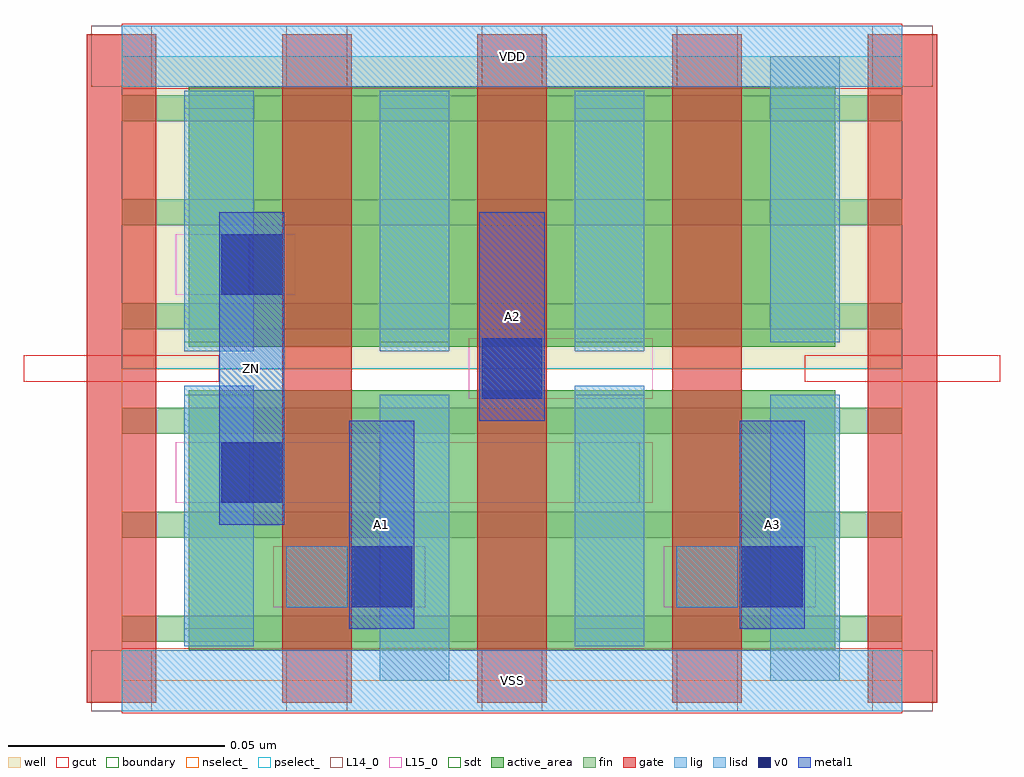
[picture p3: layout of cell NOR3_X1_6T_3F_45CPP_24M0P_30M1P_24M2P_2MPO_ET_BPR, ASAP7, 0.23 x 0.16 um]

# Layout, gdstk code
import gdstk
lib = gdstk.Library(unit=1e-6, precision=2.5e-10)
def R(c, l, rs):  # rectangles x0, y0, x1, y1
    for r in rs: c.add(gdstk.rectangle(r[:2], r[2:], *l))
def A(c, l, x, y, w, h, nx, ny, dx, dy):  # array of equal rectangles
    R(c, l, [(x+i*dx, y+j*dy, x+i*dx+w, y+j*dy+h) for i in range(nx) for j in range(ny)])
well = (1, 0)
fin = (2, 0)
gate = (7, 0)
gcut = (10, 0)
active_area = (11, 0)
nselect_ = (12, 0)
pselect_ = (13, 0)
L14_0 = (14, 0)
L15_0 = (15, 0)
lig = (16, 0)
lisd = (17, 0)
v0 = (18, 0)
metal1 = (19, 0)
sdt = (88, 0)
boundary = (100, 0)

nor3_x1_6t_3f_45cpp_24m0 = lib.new_cell('NOR3_X1_6T_3F_45CPP_24M0P_30M1P_24M2P_2MPO_ET_BPR')
R(nor3_x1_6t_3f_45cpp_24m0, well, [(0,0.072,0.18,0.144)])
A(nor3_x1_6t_3f_45cpp_24m0, fin, 0, 0.009, 0.18, 0.006, 1, 6, 0, 0.024)
A(nor3_x1_6t_3f_45cpp_24m0, gate, -0.008, -0.005, 0.016, 0.154, 5, 1, 0.045, 0)
R(nor3_x1_6t_3f_45cpp_24m0, gcut, [(0,-0.0075,0.18,0.0075), (-0.0225,0.069,0.0225,0.075), (0.1575,0.069,0.2025,0.075), (0,0.1365,0.18,0.1515)])
A(nor3_x1_6t_3f_45cpp_24m0, active_area, 0.0155, 0.007, 0.059, 0.06, 3, 2, 0.045, 0.07)
R(nor3_x1_6t_3f_45cpp_24m0, nselect_, [(0,0,0.18,0.072)])
R(nor3_x1_6t_3f_45cpp_24m0, pselect_, [(0,0.072,0.18,0.144)])
A(nor3_x1_6t_3f_45cpp_24m0, L14_0, -0.007, -0.007, 0.014, 0.014, 5, 2, 0.045, 0.144)
R(nor3_x1_6t_3f_45cpp_24m0, L14_0, [(0.038,0.017,0.052,0.031), (0.128,0.017,0.142,0.031), (0.0155,0.041,0.0295,0.055), (0.1055,0.041,0.1195,0.055), (0.083,0.065,0.097,0.079), (0.0155,0.089,0.0295,0.103)])
R(nor3_x1_6t_3f_45cpp_24m0, L15_0, [(0,-0.007,0.18,0.007), (0.035,0.017,0.07,0.031), (0.125,0.017,0.16,0.031), (0.0125,0.041,0.1225,0.055), (0.08,0.065,0.1225,0.079), (0.0125,0.089,0.04,0.103), (0,0.137,0.18,0.151)])
R(nor3_x1_6t_3f_45cpp_24m0, lig, [(0,-0.007,0.18,0.007), (0.038,0.017,0.052,0.031), (0.128,0.017,0.142,0.031), (0.083,0.065,0.097,0.079), (0,0.137,0.18,0.151)])
A(nor3_x1_6t_3f_45cpp_24m0, lisd, 0.0145, 0.076, 0.016, 0.06, 3, 1, 0.045, 0)
R(nor3_x1_6t_3f_45cpp_24m0, lisd, [(0.0595,0,0.0755,0.066), (0.1495,0,0.1655,0.066), (0.0145,0.008,0.0305,0.068), (0.1045,0.008,0.1205,0.068), (0.1495,0.078,0.1655,0.144)])
R(nor3_x1_6t_3f_45cpp_24m0, v0, [(0.053,0.017,0.067,0.031), (0.143,0.017,0.157,0.031), (0.023,0.041,0.037,0.055), (0.083,0.065,0.097,0.079), (0.023,0.089,0.037,0.103)])
R(nor3_x1_6t_3f_45cpp_24m0, metal1, [(0.0525,0.012,0.0675,0.06), (0.1425,0.012,0.1575,0.06), (0.0225,0.036,0.0375,0.108), (0.0825,0.06,0.0975,0.108)])
A(nor3_x1_6t_3f_45cpp_24m0, sdt, 0.0145, 0.012, 0.016, 0.054, 4, 2, 0.045, 0.066)
R(nor3_x1_6t_3f_45cpp_24m0, boundary, [(0,0,0.18,0.144)])
nor3_x1_6t_3f_45cpp_24m0.add(gdstk.Label('A3', (0.15,0.036), layer=19, texttype=251))
nor3_x1_6t_3f_45cpp_24m0.add(gdstk.Label('A2', (0.09,0.084), layer=19, texttype=251))
nor3_x1_6t_3f_45cpp_24m0.add(gdstk.Label('A1', (0.06,0.036), layer=19, texttype=251))
nor3_x1_6t_3f_45cpp_24m0.add(gdstk.Label('ZN', (0.03,0.072), layer=19, texttype=251))
nor3_x1_6t_3f_45cpp_24m0.add(gdstk.Label('VDD', (0.09,0.144), layer=15, texttype=251))
nor3_x1_6t_3f_45cpp_24m0.add(gdstk.Label('VSS', (0.09,0), layer=15, texttype=251))
nor3_x1_6t_3f_45cpp_24m0.add(gdstk.Label('VDD', (0.09,0.144), layer=1, texttype=251))
nor3_x1_6t_3f_45cpp_24m0.add(gdstk.Label('VSS', (0.09,0), layer=3, texttype=251))

lib.write_gds('NOR3_X1_6T_3F_45CPP_24M0P_30M1P_24M2P_2MPO_ET_BPR.gds')
